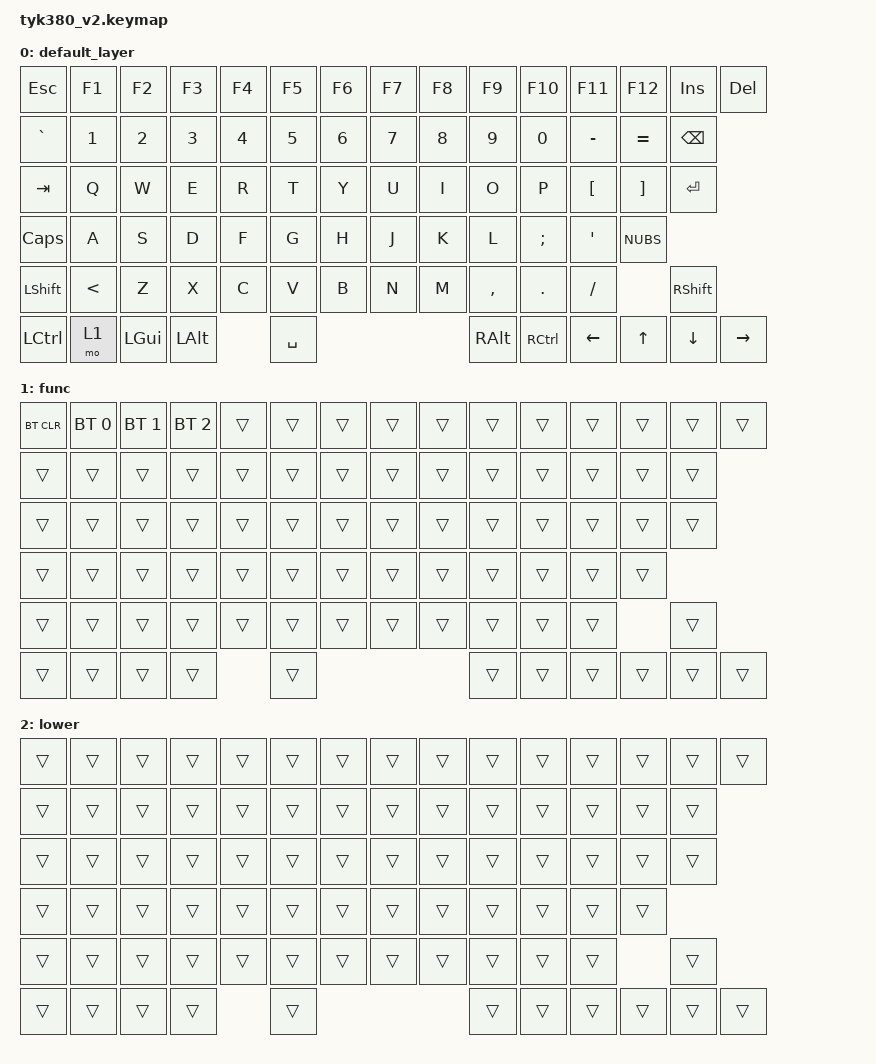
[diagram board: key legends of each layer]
/*
 * Copyright (c) 2024 The ZMK Contributors
 *
 * SPDX-License-Identifier: MIT
 */

#include <behaviors.dtsi>
#include <dt-bindings/zmk/keys.h>
#include <dt-bindings/zmk/bt.h>

/ {
    keymap {
        compatible = "zmk,keymap";

        default_layer {
            // -----------------------------------------------------------------------------------------
            // |  TAB  |  Q   |  W   |  E   |  R   |  T   |   Y   |  U    |  I   |  O   |   P   | BSPC  |
            // |  ESC  |  A   |  S   |  D   |  F   |  G   |   H   |  J    |  K   |  L   |   ;   |  '    |
            // | SHIFT |  Z   |  X   |  C   |  V   |  B   |   N   |  M    |  ,   |  .   |   /   |  RET  |
            // |       | LCTL | LALT | LGUI | LOWR |     SPACE    |  RAIS | LARW | DARW | UARW  |  RARW |
            bindings = <
&kp ESC    &kp F1  &kp F2   &kp F3    &kp F4  &kp F5  &kp F6  &kp F7  &kp F8  &kp F9    &kp F10   &kp F11   &kp F12    &kp INS   &kp DEL
&kp GRAVE  &kp N1  &kp N2   &kp N3    &kp N4  &kp N5  &kp N6  &kp N7  &kp N8  &kp N9    &kp N0    &kp MINUS &kp EQUAL  &kp BSPC
&kp TAB    &kp Q   &kp W    &kp E     &kp R   &kp T   &kp Y   &kp U   &kp I   &kp  O    &kp P     &kp LBKT  &kp RBKT   &kp RET
&kp CLCK   &kp A   &kp S    &kp D     &kp F   &kp G   &kp H   &kp J   &kp K   &kp  L    &kp SEMI  &kp SQT   &kp NUBS
&kp LSHFT  &kp LT  &kp Z    &kp X     &kp C   &kp V   &kp B   &kp N   &kp M   &kp COMMA &kp DOT   &kp FSLH         &kp RSHFT
&kp LCTRL  &mo 1 &kp LGUI &kp LALT               &kp SPACE                  &kp RALT  &kp RCTRL &kp LEFT  &kp UP &kp DOWN   &kp RIGHT
        >;
        };
		
		func {

            bindings = <
&bt BT_CLR  &bt BT_SEL 0 &bt BT_SEL 1 &bt BT_SEL 2 &trans  &trans  &trans  &trans  &trans  &trans    &trans   &trans   &trans    &trans   &trans
&trans  &trans  &trans   &trans    &trans  &trans  &trans  &trans  &trans  &trans    &trans    &trans &trans  &trans
&trans    &trans   &trans    &trans     &trans   &trans   &trans   &trans   &trans   &trans    &trans     &trans  &trans   &trans
&trans   &trans   &trans    &trans     &trans   &trans   &trans   &trans   &trans   &trans    &trans  &trans   &trans
&trans  &trans  &trans    &trans     &trans   &trans   &trans   &trans   &trans   &trans &trans   &trans         &trans
&trans  &trans &trans &trans               &trans                  &trans  &trans &trans  &trans &trans   &trans
        >;
        };

		lower {

            bindings = <
&trans  &trans  &trans   &trans    &trans  &trans  &trans  &trans  &trans  &trans    &trans   &trans   &trans    &trans   &trans
&trans  &trans  &trans   &trans    &trans  &trans  &trans  &trans  &trans  &trans    &trans    &trans &trans  &trans
&trans  &trans   &trans    &trans     &trans   &trans   &trans   &trans   &trans   &trans    &trans     &trans  &trans   &trans
&trans  &trans   &trans    &trans     &trans   &trans   &trans   &trans   &trans   &trans    &trans  &trans   &trans
&trans  &trans  &trans    &trans     &trans   &trans   &trans   &trans   &trans   &trans &trans   &trans         &trans
&trans  &trans &trans &trans               &trans                  &trans  &trans &trans  &trans &trans   &trans
        >;
        };

    };
};
